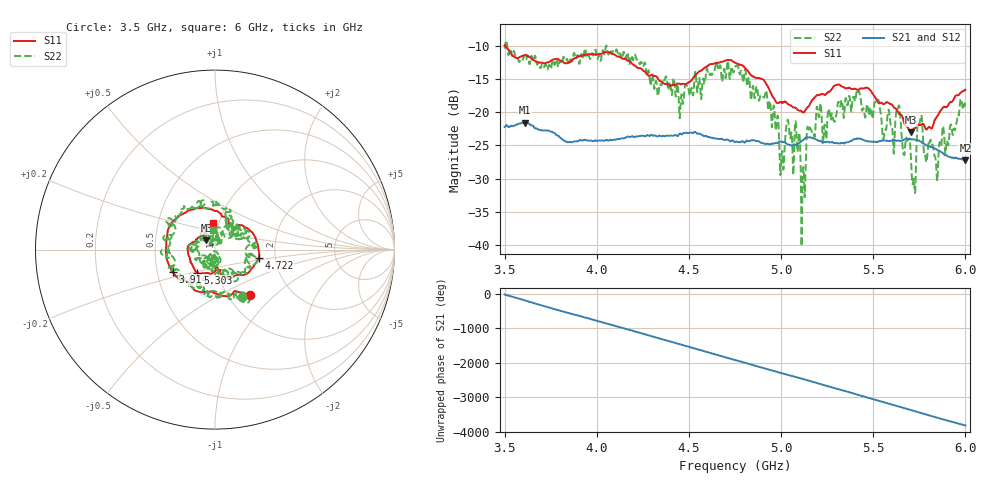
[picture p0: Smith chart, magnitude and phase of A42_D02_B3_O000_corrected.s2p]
! Created with skrf 1.9.0 (http://scikit-rf.org).
# Hz S RI R 50.0
!freq ReS11 ImS11 ReS21 ImS21 ReS12 ImS12 ReS22 ImS22
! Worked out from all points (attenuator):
!   1601 points, 3.5 GHz to 6 GHz, reference 50 ohm
!   highest |S21| = -21.56 dB at 3.611 GHz (marker M1); lowest = -27.2 dB at 6 GHz (marker M2)
!   lowest |S11| = -23.0 dB at 5.703 GHz (marker M3), VSWR 1.15, Z = 45.2 + j4.73 ohm
!   |S11| at or under -10 dB: 3.504 GHz to end of sweep
!   |S22| runs from -40.2 to -9.2 dB; largest |S21 - S12| = 0.00096
!   S11 on the Smith chart (normalised r, x): 3.5 GHz: 1.26, -0.71; 3.914 GHz: 0.60, -0.16; 4.722 GHz: 1.63, -0.17; 5.303 GHz: 0.80, -0.21; 6 GHz: 0.94, +0.28
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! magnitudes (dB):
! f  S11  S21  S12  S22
! 3.5 GHz  -9.9  -22.2  -22.2  -10.4
! 3.611 GHz  -11.4  -21.6  -21.6  -11.8
! 3.914 GHz  -11.5  -24.2  -24.2  -11.3
! 3.917 GHz  -11.5  -24.2  -24.2  -11.2
! 4.334 GHz  -15.0  -23.6  -23.5  -17.3
! 4.722 GHz  -12.1  -24.3  -24.3  -15.0
! 4.75 GHz  -12.5  -24.5  -24.4  -13.2
! 4.928 GHz  -16.1  -24.7  -24.7  -19.2
! 5.005 GHz  -18.5  -24.5  -24.5  -25.9
! 5.033 GHz  -18.6  -24.8  -24.7  -21.4
! 5.088 GHz  -19.5  -24.9  -24.8  -25.9
! 5.119 GHz  -20.0  -24.2  -24.1  -28.4
! 5.147 GHz  -19.1  -23.8  -23.8  -22.4
! 5.167 GHz  -18.2  -23.8  -23.8  -22.9
! 5.303 GHz  -15.8  -24.6  -24.6  -19.7
! 5.584 GHz  -18.6  -24.3  -24.3  -19.6
! 5.636 GHz  -20.0  -24.2  -24.2  -19.2
! 5.703 GHz  -23.0  -24.1  -24.0  -26.1
! 5.72 GHz  -22.4  -24.1  -24.1  -30.0
! 5.753 GHz  -21.9  -24.4  -24.3  -21.5
! 5.842 GHz  -20.8  -25.5  -25.5  -28.4
! 6 GHz  -16.6  -27.2  -27.2  -19.1
